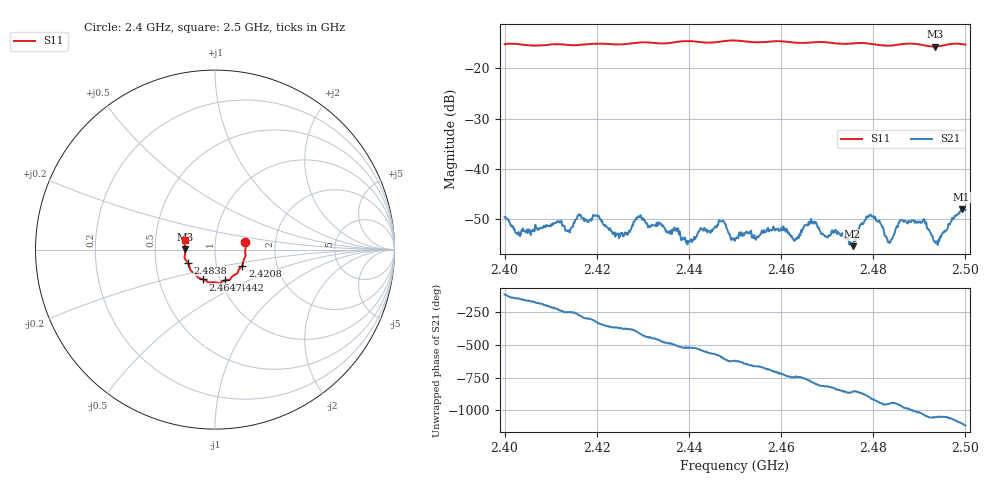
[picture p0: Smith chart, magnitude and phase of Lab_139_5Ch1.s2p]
# Hz S RI R 50
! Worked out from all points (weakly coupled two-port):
!   601 points, 2.4 GHz to 2.5 GHz, reference 50 ohm
!   highest |S21| = -47.92 dB at 2.4992 GHz (marker M1); lowest = -55.3 dB at 2.4755 GHz (marker M2)
!   lowest |S11| = -15.7 dB at 2.4935 GHz (marker M3), VSWR 1.39, Z = 35.9 + j0.179 ohm
!   |S11| at or under -10 dB: start of sweep to end of sweep
!   S12 and S22 are empty: the file has one direction only
!   S11 on the Smith chart (normalised r, x): 2.4 GHz: 1.40, +0.12; 2.4208 GHz: 1.33, -0.24; 2.4442 GHz: 1.05, -0.37; 2.4647 GHz: 0.83, -0.28; 2.4838 GHz: 0.73, -0.11; 2.5 GHz: 0.71, +0.08
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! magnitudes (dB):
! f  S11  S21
! 2.4 GHz  -15.2  -49.5
! 2.403 GHz  -15.2  -52.5
! 2.4167 GHz  -15.3  -49.6
! 2.4208 GHz  -15.1  -49.9
! 2.4245 GHz  -15.2  -53.0
! 2.429 GHz  -14.9  -49.4
! 2.4333 GHz  -15.0  -50.5
! 2.4398 GHz  -14.6  -54.3
! 2.4442 GHz  -14.9  -52.3
! 2.447 GHz  -14.7  -50.4
! 2.45 GHz  -14.5  -54.2
! 2.4647 GHz  -14.9  -51.9
! 2.4667 GHz  -14.8  -50.5
! 2.4755 GHz  -15.1  -55.3
! 2.4795 GHz  -15.1  -49.2
! 2.4833 GHz  -15.5  -54.4
! 2.4838 GHz  -15.5  -54.1
! 2.486 GHz  -15.2  -50.2
! 2.4907 GHz  -15.3  -50.5
! 2.4935 GHz  -15.7  -54.7
! 2.4992 GHz  -15.2  -47.9
! 2.5 GHz  -15.3  -48.1
